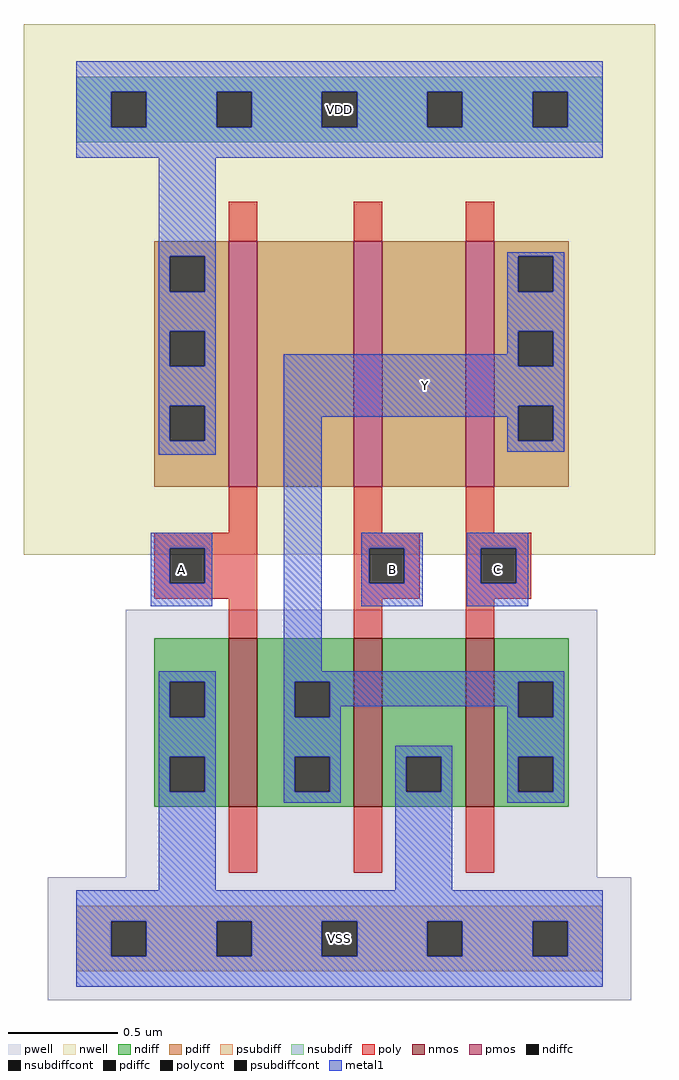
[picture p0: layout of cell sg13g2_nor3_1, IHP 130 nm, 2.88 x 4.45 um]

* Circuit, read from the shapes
.subckt sg13g2_nor3_1 A Y B C VDD VSS
XM1 Y A VSS VSS sg13_lv_nmos w=0.77u l=0.13u
XM2 VSS B Y VSS sg13_lv_nmos w=0.77u l=0.13u
XM3 Y C VSS VSS sg13_lv_nmos w=0.77u l=0.13u
XM4 n1 A VDD VDD sg13_lv_pmos w=1.12u l=0.13u
XM5 n2 B n1 VDD sg13_lv_pmos w=1.12u l=0.13u
XM6 Y C n2 VDD sg13_lv_pmos w=1.12u l=0.13u
.ends

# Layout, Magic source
magic
tech ihp-sg13g2
magscale 1 2
<< nwell >>
rect -48 350 528 834
<< pwell >>
rect 45 56 475 300
rect -26 -56 506 56
<< nmos >>
rect 139 120 165 274
rect 253 120 279 274
rect 355 120 381 274
<< pmos >>
rect 139 412 165 636
rect 253 412 279 636
rect 355 412 381 636
<< ndiff >>
rect 71 234 139 274
rect 71 202 85 234
rect 117 202 139 234
rect 71 166 139 202
rect 71 134 85 166
rect 117 134 139 166
rect 71 120 139 134
rect 165 234 253 274
rect 165 202 199 234
rect 231 202 253 234
rect 165 166 253 202
rect 165 134 199 166
rect 231 134 253 166
rect 165 120 253 134
rect 279 166 355 274
rect 279 134 301 166
rect 333 134 355 166
rect 279 120 355 134
rect 381 234 449 274
rect 381 202 403 234
rect 435 202 449 234
rect 381 166 449 202
rect 381 134 403 166
rect 435 134 449 166
rect 381 120 449 134
<< pdiff >>
rect 71 622 139 636
rect 71 590 85 622
rect 117 590 139 622
rect 71 554 139 590
rect 71 522 85 554
rect 117 522 139 554
rect 71 486 139 522
rect 71 454 85 486
rect 117 454 139 486
rect 71 412 139 454
rect 165 412 253 636
rect 279 412 355 636
rect 381 622 449 636
rect 381 590 403 622
rect 435 590 449 622
rect 381 554 449 590
rect 381 522 403 554
rect 435 522 449 554
rect 381 486 449 522
rect 381 454 403 486
rect 435 454 449 486
rect 381 412 449 454
<< ndiffc >>
rect 85 202 117 234
rect 85 134 117 166
rect 199 202 231 234
rect 199 134 231 166
rect 301 134 333 166
rect 403 202 435 234
rect 403 134 435 166
<< pdiffc >>
rect 85 590 117 622
rect 85 522 117 554
rect 85 454 117 486
rect 403 590 435 622
rect 403 522 435 554
rect 403 454 435 486
<< psubdiff >>
rect 0 16 480 30
rect 0 -16 32 16
rect 64 -16 128 16
rect 160 -16 224 16
rect 256 -16 320 16
rect 352 -16 416 16
rect 448 -16 480 16
rect 0 -30 480 -16
<< nsubdiff >>
rect 0 772 480 786
rect 0 740 32 772
rect 64 740 128 772
rect 160 740 224 772
rect 256 740 320 772
rect 352 740 416 772
rect 448 740 480 772
rect 0 726 480 740
<< psubdiffcont >>
rect 32 -16 64 16
rect 128 -16 160 16
rect 224 -16 256 16
rect 320 -16 352 16
rect 416 -16 448 16
<< nsubdiffcont >>
rect 32 740 64 772
rect 128 740 160 772
rect 224 740 256 772
rect 320 740 352 772
rect 416 740 448 772
<< poly >>
rect 139 636 165 672
rect 253 636 279 672
rect 355 636 381 672
rect 139 370 165 412
rect 71 356 165 370
rect 71 324 85 356
rect 117 324 165 356
rect 71 310 165 324
rect 139 274 165 310
rect 253 370 279 412
rect 355 370 381 412
rect 253 356 313 370
rect 253 324 267 356
rect 299 324 313 356
rect 253 310 313 324
rect 355 356 415 370
rect 355 324 369 356
rect 401 324 415 356
rect 355 310 415 324
rect 253 274 279 310
rect 355 274 381 310
rect 139 60 165 120
rect 253 60 279 120
rect 355 60 381 120
<< polycont >>
rect 85 324 117 356
rect 267 324 299 356
rect 369 324 401 356
<< metal1 >>
rect 0 772 480 800
rect 0 740 32 772
rect 64 740 128 772
rect 160 740 224 772
rect 256 740 320 772
rect 352 740 416 772
rect 448 740 480 772
rect 0 712 480 740
rect 75 622 127 712
rect 75 590 85 622
rect 117 590 127 622
rect 75 554 127 590
rect 75 522 85 554
rect 117 522 127 554
rect 393 622 445 626
rect 393 590 403 622
rect 435 590 445 622
rect 393 554 445 590
rect 393 533 403 554
rect 75 486 127 522
rect 75 454 85 486
rect 117 454 127 486
rect 75 441 127 454
rect 189 522 403 533
rect 435 522 445 554
rect 189 486 445 522
rect 189 476 403 486
rect 68 356 124 370
rect 68 324 85 356
rect 117 324 124 356
rect 68 303 124 324
rect 189 244 224 476
rect 393 454 403 476
rect 435 454 445 486
rect 393 444 445 454
rect 260 356 316 370
rect 260 324 267 356
rect 299 324 316 356
rect 260 303 316 324
rect 356 356 412 370
rect 356 324 369 356
rect 401 324 412 356
rect 356 303 412 324
rect 75 234 127 244
rect 75 202 85 234
rect 117 202 127 234
rect 75 166 127 202
rect 75 134 85 166
rect 117 134 127 166
rect 75 44 127 134
rect 189 234 445 244
rect 189 202 199 234
rect 231 212 403 234
rect 231 202 241 212
rect 189 166 241 202
rect 393 202 403 212
rect 435 202 445 234
rect 189 134 199 166
rect 231 134 241 166
rect 189 124 241 134
rect 291 166 343 176
rect 291 134 301 166
rect 333 134 343 166
rect 291 44 343 134
rect 393 166 445 202
rect 393 134 403 166
rect 435 134 445 166
rect 393 124 445 134
rect 0 16 480 44
rect 0 -16 32 16
rect 64 -16 128 16
rect 160 -16 224 16
rect 256 -16 320 16
rect 352 -16 416 16
rect 448 -16 480 16
rect 0 -44 480 -16
<< labels >>
flabel metal1 s 68 303 124 370 0 FreeSans 400 0 0 0 A
port 2 nsew
flabel metal1 s 192 476 445 533 0 FreeSans 400 0 0 0 Y
port 3 nsew
flabel metal1 s 260 303 316 370 0 FreeSans 400 0 0 0 B
port 4 nsew
flabel metal1 s 356 303 412 370 0 FreeSans 400 0 0 0 C
port 5 nsew
flabel metal1 s 0 712 480 800 0 FreeSans 400 0 0 0 VDD
port 6 nsew
flabel metal1 s 0 -44 480 44 0 FreeSans 400 0 0 0 VSS
port 7 nsew
<< properties >>
string FIXED_BBOX 0 0 480 756
string GDS_END 149040
string GDS_FILE 6_final.gds
string GDS_START 144572
<< end >>
